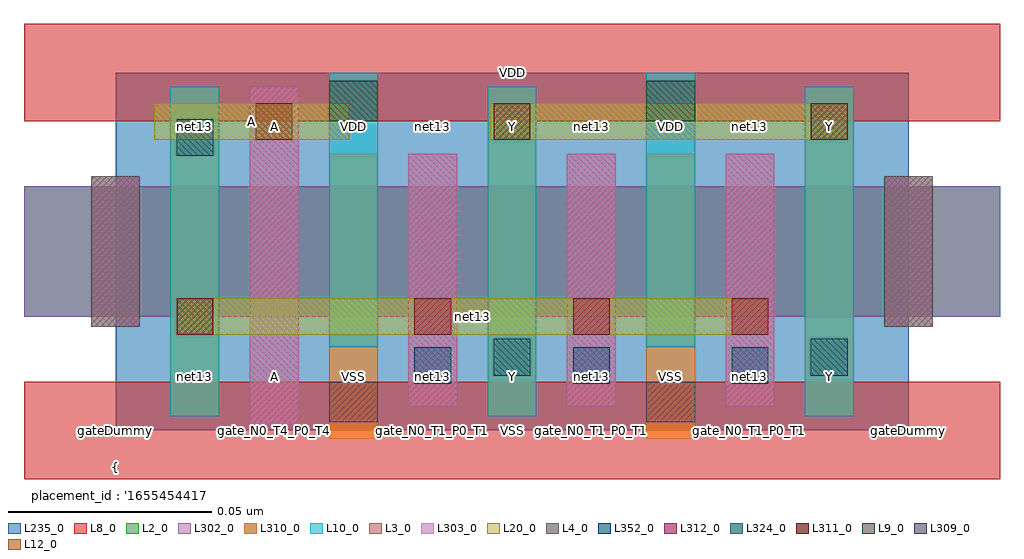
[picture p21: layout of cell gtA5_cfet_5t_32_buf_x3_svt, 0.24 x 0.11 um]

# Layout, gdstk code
import gdstk
lib = gdstk.Library(unit=1e-6, precision=2.5e-10)
def R(c, l, rs):  # rectangles x0, y0, x1, y1
    for r in rs: c.add(gdstk.rectangle(r[:2], r[2:], *l))
def A(c, l, x, y, w, h, nx, ny, dx, dy):  # array of equal rectangles
    R(c, l, [(x+i*dx, y+j*dy, x+i*dx+w, y+j*dy+h) for i in range(nx) for j in range(ny)])
L2_0 = (2, 0)
L3_0 = (3, 0)
L4_0 = (4, 0)
L8_0 = (8, 0)
L9_0 = (9, 0)
L10_0 = (10, 0)
L12_0 = (12, 0)
L20_0 = (20, 0)
L235_0 = (235, 0)
L302_0 = (302, 0)
L303_0 = (303, 0)
L309_0 = (309, 0)
L310_0 = (310, 0)
L311_0 = (311, 0)
L312_0 = (312, 0)
L324_0 = (324, 0)
L352_0 = (352, 0)

gta5_cfet_5t_32_buf_x3_s = lib.new_cell('gtA5_cfet_5t_32_buf_x3_svt')
R(gta5_cfet_5t_32_buf_x3_s, L2_0, [(-0.0225,0.028,0.2175,0.06)])
A(gta5_cfet_5t_32_buf_x3_s, L3_0, 0.072, 0.006, 0.012, 0.062, 3, 1, 0.039, 0)
R(gta5_cfet_5t_32_buf_x3_s, L3_0, [(0.033,0.0015,0.045,0.0845), (-0.006,0.0255,0.006,0.0625), (0.189,0.0255,0.201,0.0625)])
R(gta5_cfet_5t_32_buf_x3_s, L4_0, [(-0.006,0.0255,0.006,0.0625), (0.189,0.0255,0.201,0.0625)])
R(gta5_cfet_5t_32_buf_x3_s, L8_0, [(-0.0225,-0.012,0.2175,0.012), (-0.0225,0.076,0.2175,0.1)])
R(gta5_cfet_5t_32_buf_x3_s, L9_0, [(0.0525,0.076,0.0645,0.086), (0.1305,0.076,0.1425,0.086)])
A(gta5_cfet_5t_32_buf_x3_s, L10_0, 0.0135, 0.0035, 0.012, 0.081, 3, 1, 0.078, 0)
R(gta5_cfet_5t_32_buf_x3_s, L10_0, [(0.0525,0.0205,0.0645,0.088), (0.1305,0.0205,0.1425,0.088)])
R(gta5_cfet_5t_32_buf_x3_s, L12_0, [(0.0345,0.0715,0.0435,0.0805)])
R(gta5_cfet_5t_32_buf_x3_s, L20_0, [(0.015,0.0235,0.1605,0.0325), (0.0095,0.0715,0.0575,0.0805), (0.092,0.0715,0.18,0.0805)])
R(gta5_cfet_5t_32_buf_x3_s, L235_0, [(0,0,0.195,0.088)])
R(gta5_cfet_5t_32_buf_x3_s, L302_0, [(-0.0225,0.028,0.2175,0.06)])
A(gta5_cfet_5t_32_buf_x3_s, L303_0, 0.072, 0.006, 0.012, 0.062, 3, 1, 0.039, 0)
R(gta5_cfet_5t_32_buf_x3_s, L303_0, [(0.033,0.0015,0.045,0.0845), (-0.006,0.0255,0.006,0.0625), (0.189,0.0255,0.201,0.0625)])
R(gta5_cfet_5t_32_buf_x3_s, L309_0, [(0.0525,0.002,0.0645,0.012), (0.1305,0.002,0.1425,0.012)])
A(gta5_cfet_5t_32_buf_x3_s, L310_0, 0.0135, 0.0035, 0.012, 0.081, 3, 1, 0.078, 0)
R(gta5_cfet_5t_32_buf_x3_s, L310_0, [(0.0525,-0.002,0.0645,0.068), (0.1305,-0.002,0.1425,0.068)])
R(gta5_cfet_5t_32_buf_x3_s, L311_0, [(0.015,0.0235,0.024,0.0325), (0.093,0.0715,0.102,0.0805), (0.171,0.0715,0.18,0.0805)])
A(gta5_cfet_5t_32_buf_x3_s, L312_0, 0.0735, 0.0235, 0.009, 0.009, 3, 1, 0.039, 0)
R(gta5_cfet_5t_32_buf_x3_s, L324_0, [(0.093,0.0135,0.102,0.0225), (0.171,0.0135,0.18,0.0225), (0.015,0.0675,0.024,0.0765)])
A(gta5_cfet_5t_32_buf_x3_s, L352_0, 0.0735, 0.0115, 0.009, 0.009, 3, 1, 0.039, 0)
gta5_cfet_5t_32_buf_x3_s.add(gdstk.Label('net13', (0.0878,0.028), layer=100, texttype=100))
gta5_cfet_5t_32_buf_x3_s.add(gdstk.Label('gateDummy', (0,0), layer=103, texttype=103))
gta5_cfet_5t_32_buf_x3_s.add(gdstk.Label('sd_N0_T1_P0_T1', (0.0195,0), layer=103, texttype=103))
gta5_cfet_5t_32_buf_x3_s.add(gdstk.Label('gate_N0_T4_P0_T4', (0.039,0), layer=103, texttype=103))
gta5_cfet_5t_32_buf_x3_s.add(gdstk.Label('sd_N0_VSS_P0_VDD', (0.0585,0), layer=103, texttype=103))
gta5_cfet_5t_32_buf_x3_s.add(gdstk.Label('gate_N0_T1_P0_T1', (0.078,0), layer=103, texttype=103))
gta5_cfet_5t_32_buf_x3_s.add(gdstk.Label('sd_N0_T4_P0_T4', (0.0975,0), layer=103, texttype=103))
gta5_cfet_5t_32_buf_x3_s.add(gdstk.Label('gate_N0_T1_P0_T1', (0.117,0), layer=103, texttype=103))
gta5_cfet_5t_32_buf_x3_s.add(gdstk.Label('sd_N0_VSS_P0_VDD', (0.1365,0), layer=103, texttype=103))
gta5_cfet_5t_32_buf_x3_s.add(gdstk.Label('gate_N0_T1_P0_T1', (0.156,0), layer=103, texttype=103))
gta5_cfet_5t_32_buf_x3_s.add(gdstk.Label('sd_N0_T4_P0_T4', (0.1755,0), layer=103, texttype=103))
gta5_cfet_5t_32_buf_x3_s.add(gdstk.Label('gateDummy', (0.195,0), layer=103, texttype=103))
gta5_cfet_5t_32_buf_x3_s.add(gdstk.Label('}', (0,-0.0963), layer=104, texttype=104))
gta5_cfet_5t_32_buf_x3_s.add(gdstk.Label('  power : None', (0,-0.0875), layer=104, texttype=104))
gta5_cfet_5t_32_buf_x3_s.add(gdstk.Label('  performance : None', (0,-0.0788), layer=104, texttype=104))
gta5_cfet_5t_32_buf_x3_s.add(gdstk.Label("  solution_hash : '4398355142113736641'", (0,-0.07), layer=104, texttype=104))
gta5_cfet_5t_32_buf_x3_s.add(gdstk.Label('  number_m2 : 0', (0,-0.0612), layer=104, texttype=104))
gta5_cfet_5t_32_buf_x3_s.add(gdstk.Label('  number_m1 : 0', (0,-0.0525), layer=104, texttype=104))
gta5_cfet_5t_32_buf_x3_s.add(gdstk.Label('  number_m0cuts : 0', (0,-0.0438), layer=104, texttype=104))
gta5_cfet_5t_32_buf_x3_s.add(gdstk.Label('  number_m0 : 3', (0,-0.035), layer=104, texttype=104))
gta5_cfet_5t_32_buf_x3_s.add(gdstk.Label("  solution_number : '0000'", (0,-0.0262), layer=104, texttype=104))
gta5_cfet_5t_32_buf_x3_s.add(gdstk.Label("  placement_id : '16554544176148199252'", (0,-0.0175), layer=104, texttype=104))
gta5_cfet_5t_32_buf_x3_s.add(gdstk.Label('{', (0,-0.0088), layer=104, texttype=104))
gta5_cfet_5t_32_buf_x3_s.add(gdstk.Label('net13', (0.0195,0.0132), layer=105, texttype=105))
gta5_cfet_5t_32_buf_x3_s.add(gdstk.Label('A', (0.039,0.0132), layer=105, texttype=105))
gta5_cfet_5t_32_buf_x3_s.add(gdstk.Label('VSS', (0.0585,0.0132), layer=105, texttype=105))
gta5_cfet_5t_32_buf_x3_s.add(gdstk.Label('net13', (0.078,0.0132), layer=105, texttype=105))
gta5_cfet_5t_32_buf_x3_s.add(gdstk.Label('Y', (0.0975,0.0132), layer=105, texttype=105))
gta5_cfet_5t_32_buf_x3_s.add(gdstk.Label('net13', (0.117,0.0132), layer=105, texttype=105))
gta5_cfet_5t_32_buf_x3_s.add(gdstk.Label('VSS', (0.1365,0.0132), layer=105, texttype=105))
gta5_cfet_5t_32_buf_x3_s.add(gdstk.Label('net13', (0.156,0.0132), layer=105, texttype=105))
gta5_cfet_5t_32_buf_x3_s.add(gdstk.Label('Y', (0.1755,0.0132), layer=105, texttype=105))
gta5_cfet_5t_32_buf_x3_s.add(gdstk.Label('net13', (0.0195,0.0747), layer=105, texttype=105))
gta5_cfet_5t_32_buf_x3_s.add(gdstk.Label('A', (0.039,0.0747), layer=105, texttype=105))
gta5_cfet_5t_32_buf_x3_s.add(gdstk.Label('VDD', (0.0585,0.0747), layer=105, texttype=105))
gta5_cfet_5t_32_buf_x3_s.add(gdstk.Label('net13', (0.078,0.0747), layer=105, texttype=105))
gta5_cfet_5t_32_buf_x3_s.add(gdstk.Label('Y', (0.0975,0.0747), layer=105, texttype=105))
gta5_cfet_5t_32_buf_x3_s.add(gdstk.Label('net13', (0.117,0.0747), layer=105, texttype=105))
gta5_cfet_5t_32_buf_x3_s.add(gdstk.Label('VDD', (0.1365,0.0747), layer=105, texttype=105))
gta5_cfet_5t_32_buf_x3_s.add(gdstk.Label('net13', (0.156,0.0747), layer=105, texttype=105))
gta5_cfet_5t_32_buf_x3_s.add(gdstk.Label('Y', (0.1755,0.0747), layer=105, texttype=105))
gta5_cfet_5t_32_buf_x3_s.add(gdstk.Label('VSS', (0.0975,0), layer=8, texttype=0))
gta5_cfet_5t_32_buf_x3_s.add(gdstk.Label('VDD', (0.0975,0.088), layer=8, texttype=0))
gta5_cfet_5t_32_buf_x3_s.add(gdstk.Label('A', (0.0335,0.076), layer=20, texttype=251))
gta5_cfet_5t_32_buf_x3_s.add(gdstk.Label('Y', (0.136,0.076), layer=20, texttype=251))
gta5_cfet_5t_32_buf_x3_s.add(gdstk.Label('gtA5_cfet_5t_32_buf_x3_rvt_0', (0,0), layer=235, texttype=0))

lib.write_gds('gtA5_cfet_5t_32_buf_x3_svt.gds')
